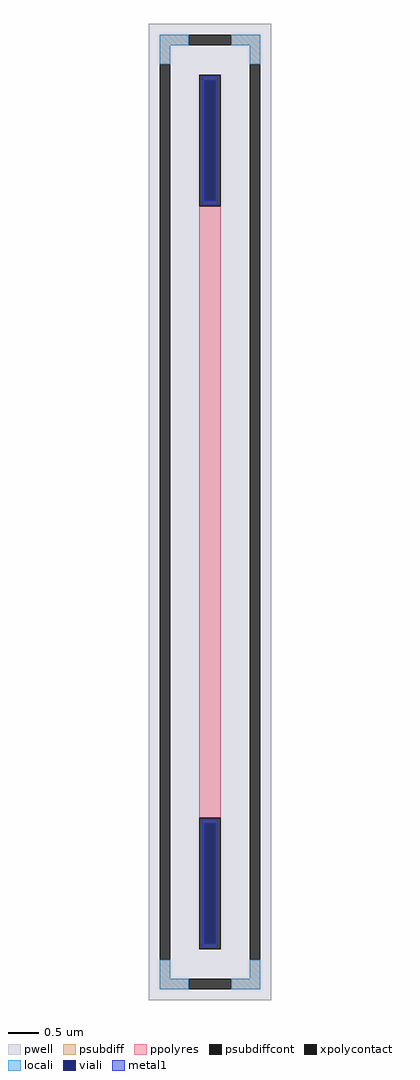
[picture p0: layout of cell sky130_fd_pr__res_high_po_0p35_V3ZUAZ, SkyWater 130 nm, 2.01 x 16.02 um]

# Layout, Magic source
magic
tech sky130A
magscale 1 2
<< pwell >>
rect -201 -1602 201 1602
<< psubdiff >>
rect -165 1532 -69 1566
rect 69 1532 165 1566
rect -165 1470 -131 1532
rect 131 1470 165 1532
rect -165 -1532 -131 -1470
rect 131 -1532 165 -1470
rect -165 -1566 -69 -1532
rect 69 -1566 165 -1532
<< psubdiffcont >>
rect -69 1532 69 1566
rect -165 -1470 -131 1470
rect 131 -1470 165 1470
rect -69 -1566 69 -1532
<< xpolycontact >>
rect -35 1004 35 1436
rect -35 -1436 35 -1004
<< ppolyres >>
rect -35 -1004 35 1004
<< locali >>
rect -165 1532 -69 1566
rect 69 1532 165 1566
rect -165 1470 -131 1532
rect 131 1470 165 1532
rect -165 -1532 -131 -1470
rect 131 -1532 165 -1470
rect -165 -1566 -69 -1532
rect 69 -1566 165 -1532
<< viali >>
rect -19 1021 19 1418
rect -19 -1418 19 -1021
<< metal1 >>
rect -25 1418 25 1430
rect -25 1021 -19 1418
rect 19 1021 25 1418
rect -25 1009 25 1021
rect -25 -1021 25 -1009
rect -25 -1418 -19 -1021
rect 19 -1418 25 -1021
rect -25 -1430 25 -1418
<< properties >>
string FIXED_BBOX -148 -1549 148 1549
string gencell sky130_fd_pr__res_high_po_0p35
string library sky130
string parameters w 0.350 l 10.2 m 1 nx 1 wmin 0.350 lmin 0.50 rho 319.8 val 10.433k dummy 0 dw 0.0 term 194.82 sterm 0.0 caplen 0 guard 1 glc 1 grc 1 gtc 1 gbc 1 compatible {sky130_fd_pr__res_high_po_0p35  sky130_fd_pr__res_high_po_0p69 sky130_fd_pr__res_high_po_1p41  sky130_fd_pr__res_high_po_2p85 sky130_fd_pr__res_high_po_5p73} snake 0 full_metal 1 wmax 0.350 vias 1 n_guard 0 hv_guard 0 viagb 0 viagt 0 viagl 0 viagr 0
<< end >>
